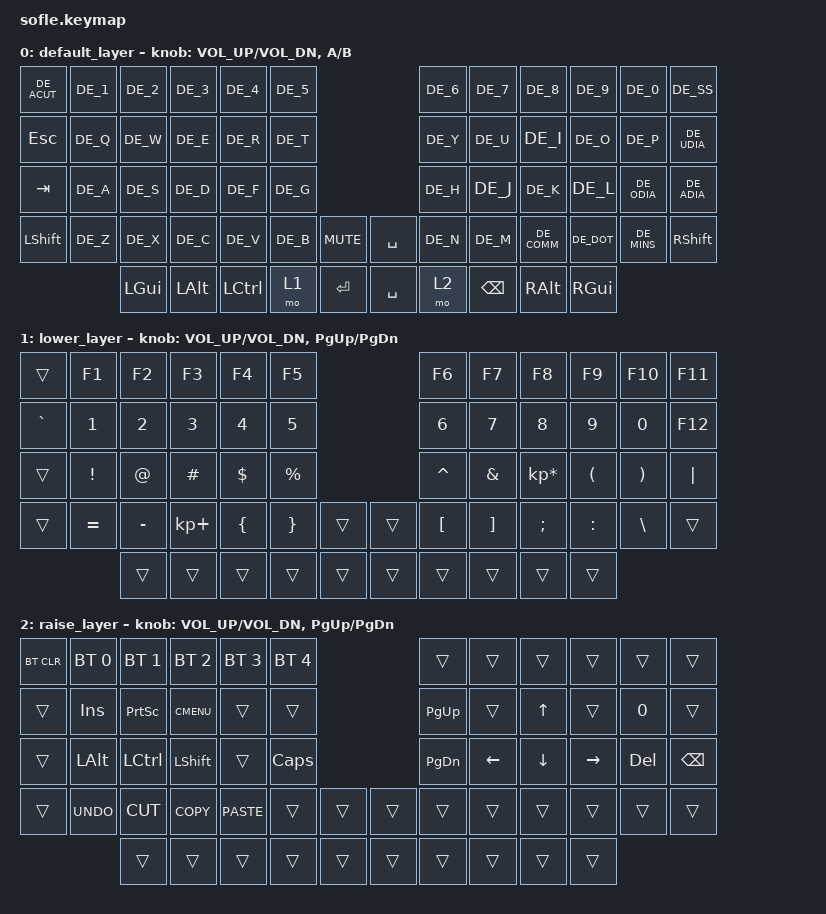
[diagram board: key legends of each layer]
/*
 * Copyright (c) 2020 The ZMK Contributors
 *
 * SPDX-License-Identifier: MIT
 */

#include <behaviors.dtsi>
#include <dt-bindings/zmk/keys.h>
#include <dt-bindings/zmk/bt.h>
#include "keymap_german.h"

/ {
    keymap {
        compatible = "zmk,keymap";

        default_layer {
// ------------------------------------------------------------------------------------------------------------
// |  `    |  1  |  2  |  3   |  4   |  5   |                   |  6   |  7    |  8    |  9   |   0   |   ß   |
// |  ESC  |  Q  |  W  |  E   |  R   |  T   |                   |  Z   |  U    |  I    |  O   |   P   | BKSPC |
// |  TAB  |  A  |  S  |  D   |  F   |  G   |                   |  H   |  J    |  K    |  L   |   ;   |   '   |
// | SHIFT |  Y  |  X  |  C   |  V   |  B   |  MUTE  |  |       |  N   |  M    |  ,    |  .   |   /   | SHIFT |
//               | GUI | ALT  | CTRL | LOWER|  ENTER |  | SPACE | RAISE| CTRL  | ALT   | GUI  |
            bindings = <
&kp DE_ACUT &kp DE_1   &kp DE_2   &kp DE_3   &kp DE_4    &kp DE_5                            &kp DE_6   &kp DE_7    &kp DE_8    &kp DE_9   &kp DE_0     &kp DE_SS
&kp ESC     &kp DE_Q   &kp DE_W   &kp DE_E   &kp DE_R    &kp DE_T                            &kp DE_Y   &kp DE_U    &kp DE_I    &kp DE_O   &kp DE_P     &kp DE_UDIA
&kp TAB     &kp DE_A   &kp DE_S   &kp DE_D   &kp DE_F    &kp DE_G                            &kp DE_H   &kp DE_J    &kp DE_K    &kp DE_L   &kp DE_ODIA  &kp DE_ADIA
&kp LSHFT   &kp DE_Z   &kp DE_X   &kp DE_C   &kp DE_V    &kp DE_B   &kp C_MUTE   &kp SPACE   &kp DE_N   &kp DE_M    &kp DE_COMM &kp DE_DOT &kp DE_MINS  &kp RSHFT
                       &kp LGUI   &kp LALT   &kp LCTRL   &mo 1      &kp RET      &kp SPACE   &mo 2      &kp BSPC   &kp RALT    &kp RGUI
            >;

            sensor-bindings = <&inc_dec_kp C_VOL_UP C_VOL_DN &inc_dec_kp A B>;
        };

        lower_layer {
// TODO: Some binds are waiting for shifted keycode support.
// ------------------------------------------------------------------------------------------------------------
// |       |  F1 |  F2 |  F3  |  F4  |  F5  |                   |  F6  |  F7   |  F8   |  F9  |  F10  |  F11  |
// | `     |   1 |   2 |   3  |   4  |   5  |                   |   6  |   7   |   8   |   9  |    0  |  F12  |
// |       |  !  |  @  |  #   |  $   |  %   |                   |  ^   |  &    |  *    |  (   |   )   |   |   |
// |       |  =  |  -  |  +   |  {   |  }   |        |  |       |  [   |  ]    |  ;    |  :   |   \   |       |
//               |     |      |      |      |        |  |       |      |       |       |      |
            bindings = <
&trans    &kp F1    &kp F2    &kp F3      &kp F4    &kp F5                    &kp F6    &kp F7   &kp F8          &kp F9    &kp F10   &kp F11
&kp GRAVE &kp N1    &kp N2    &kp N3      &kp N4    &kp N5                    &kp N6    &kp N7   &kp N8          &kp N9    &kp N0    &kp F12
&trans    &kp EXCL  &kp AT    &kp HASH    &kp DLLR  &kp PRCNT                 &kp CARET &kp AMPS &kp KP_MULTIPLY &kp LPAR  &kp RPAR  &kp PIPE
&trans    &kp EQUAL &kp MINUS &kp KP_PLUS &kp LBRC  &kp RBRC  &trans   &trans &kp LBKT  &kp RBKT &kp SEMI        &kp COLON &kp BSLH  &trans
                    &trans    &trans      &trans    &trans    &trans   &trans &trans    &trans   &trans          &trans
            >;

            sensor-bindings = <&inc_dec_kp C_VOL_UP C_VOL_DN &inc_dec_kp PG_UP PG_DN>;
        };

        raise_layer {
// ------------------------------------------------------------------------------------------------------------
// |BTCLR| BT1  | BT2  |  BT3  |  BT4  |  BT5 |                |      |      |       |      |       |       |
// |     | INS  | PSCR | GUI   |       |      |                | PGUP |      |   ^   |      |       |       |
// |     | ALT  | CTRL | SHIFT |       | CAPS |                | PGDN |   <- |   v   |  ->  |  DEL  | BKSPC |
// |     | UNDO | CUT  | COPY  | PASTE |      |      |  |      |      |      |       |      |       |       |
//              |      |       |       |      |      |  |      |      |      |       |      |
            bindings = <
&bt BT_CLR &bt BT_SEL 0 &bt BT_SEL 1 &bt BT_SEL 2 &bt BT_SEL 3 &bt BT_SEL 4             &trans    &trans    &trans   &trans    &trans  &trans
&trans     &kp INS      &kp PSCRN    &kp K_CMENU  &trans       &trans                   &kp PG_UP &trans    &kp UP   &trans    &kp N0  &trans
&trans     &kp LALT     &kp LCTRL    &kp LSHFT    &trans       &kp CLCK                 &kp PG_DN &kp LEFT  &kp DOWN &kp RIGHT &kp DEL &kp BSPC
&trans     &kp K_UNDO   &kp K_CUT    &kp K_COPY   &kp K_PASTE  &trans  &trans   &trans  &trans    &trans    &trans   &trans    &trans  &trans
                        &trans       &trans       &trans       &trans  &trans   &trans  &trans    &trans    &trans   &trans
            >;

            sensor-bindings = <&inc_dec_kp C_VOL_UP C_VOL_DN &inc_dec_kp PG_UP PG_DN>;
        };
    };
};
